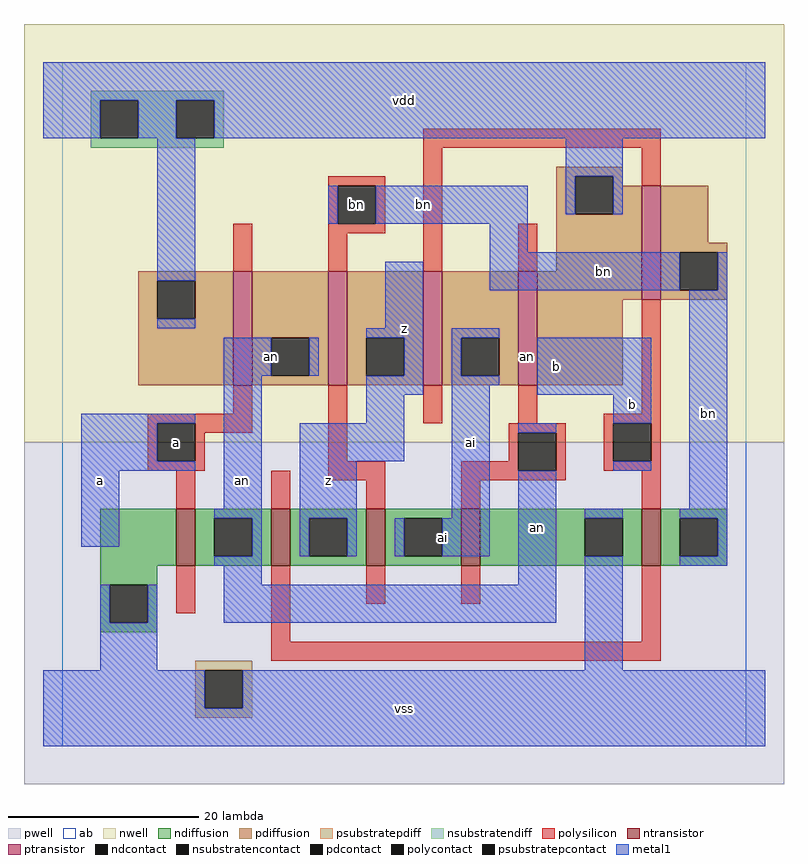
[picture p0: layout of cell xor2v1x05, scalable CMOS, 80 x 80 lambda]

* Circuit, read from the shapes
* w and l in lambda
.subckt xor2v1x05 a ai an b bn vdd vss z
M1 an a vss vss nfet w=6 l=2
M2 z b an vss nfet w=6 l=2
M3 ai bn z vss nfet w=6 l=2
M4 vss an ai vss nfet w=6 l=2
M5 bn b vss vss nfet w=6 l=2
M6 an a vdd vdd pfet w=12 l=2
M7 z bn an vdd pfet w=12 l=2
M8 ai b z vdd pfet w=12 l=2
M9 vdd an ai vdd pfet w=12 l=2
M10 bn b vdd vdd pfet w=12 l=2
.ends

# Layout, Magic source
magic
tech scmos
<< ab >>
rect 0 0 72 72
<< pwell >>
rect -4 -4 76 32
<< nwell >>
rect -4 32 76 76
<< polysilicon >>
rect 38 63 63 65
rect 28 59 34 60
rect 28 55 29 59
rect 33 55 34 59
rect 18 50 20 55
rect 28 54 34 55
rect 28 50 30 54
rect 38 50 40 63
rect 61 59 63 63
rect 48 50 50 55
rect 18 35 20 38
rect 9 34 20 35
rect 9 30 10 34
rect 14 33 20 34
rect 14 30 15 33
rect 9 29 15 30
rect 28 30 30 38
rect 38 34 40 38
rect 48 34 50 38
rect 61 35 63 47
rect 57 34 63 35
rect 47 33 53 34
rect 47 30 48 33
rect 12 25 14 29
rect 22 25 24 29
rect 28 28 34 30
rect 32 25 34 28
rect 42 29 48 30
rect 52 29 53 33
rect 57 30 58 34
rect 62 30 63 34
rect 57 29 63 30
rect 42 28 53 29
rect 42 25 44 28
rect 61 25 63 29
rect 12 14 14 19
rect 22 11 24 19
rect 32 15 34 19
rect 42 15 44 19
rect 61 11 63 19
rect 22 9 63 11
<< ndiffusion >>
rect 4 19 12 25
rect 14 24 22 25
rect 14 20 16 24
rect 20 20 22 24
rect 14 19 22 20
rect 24 24 32 25
rect 24 20 26 24
rect 30 20 32 24
rect 24 19 32 20
rect 34 24 42 25
rect 34 20 36 24
rect 40 20 42 24
rect 34 19 42 20
rect 44 24 61 25
rect 44 20 55 24
rect 59 20 61 24
rect 44 19 61 20
rect 63 24 70 25
rect 63 20 65 24
rect 69 20 70 24
rect 63 19 70 20
rect 4 17 10 19
rect 4 13 5 17
rect 9 13 10 17
rect 4 12 10 13
<< pdiffusion >>
rect 52 60 59 61
rect 52 56 54 60
rect 58 59 59 60
rect 58 56 61 59
rect 52 50 61 56
rect 8 49 18 50
rect 8 45 10 49
rect 14 45 18 49
rect 8 38 18 45
rect 20 43 28 50
rect 20 39 22 43
rect 26 39 28 43
rect 20 38 28 39
rect 30 43 38 50
rect 30 39 32 43
rect 36 39 38 43
rect 30 38 38 39
rect 40 43 48 50
rect 40 39 42 43
rect 46 39 48 43
rect 40 38 48 39
rect 50 47 61 50
rect 63 53 68 59
rect 63 52 70 53
rect 63 48 65 52
rect 69 48 70 52
rect 63 47 70 48
rect 50 38 59 47
<< metal1 >>
rect -2 68 74 72
rect -2 64 4 68
rect 8 64 12 68
rect 16 64 74 68
rect 10 49 14 64
rect 53 60 59 64
rect 28 55 29 59
rect 33 55 49 59
rect 53 56 54 60
rect 58 56 59 60
rect 45 52 49 55
rect 10 44 14 45
rect 34 44 38 51
rect 45 48 65 52
rect 69 48 70 52
rect 32 43 38 44
rect 17 39 22 43
rect 26 39 27 43
rect 36 39 38 43
rect 2 34 14 35
rect 2 30 10 34
rect 2 29 14 30
rect 2 21 6 29
rect 17 25 21 39
rect 32 37 38 39
rect 41 43 46 44
rect 41 39 42 43
rect 41 38 46 39
rect 32 34 36 37
rect 16 24 21 25
rect 20 20 21 24
rect 25 30 36 34
rect 25 24 31 30
rect 41 24 45 38
rect 50 37 62 43
rect 58 34 62 37
rect 25 20 26 24
rect 30 20 31 24
rect 35 20 36 24
rect 40 20 45 24
rect 48 33 52 34
rect 58 29 62 30
rect 16 19 21 20
rect 17 17 21 19
rect 48 17 52 29
rect 66 25 70 48
rect 4 13 5 17
rect 9 13 10 17
rect 17 13 52 17
rect 55 24 59 25
rect 4 8 10 13
rect 55 8 59 20
rect 65 24 70 25
rect 69 20 70 24
rect 65 19 70 20
rect -2 4 15 8
rect 19 4 74 8
rect -2 0 74 4
<< ntransistor >>
rect 12 19 14 25
rect 22 19 24 25
rect 32 19 34 25
rect 42 19 44 25
rect 61 19 63 25
<< ptransistor >>
rect 18 38 20 50
rect 28 38 30 50
rect 38 38 40 50
rect 48 38 50 50
rect 61 47 63 59
<< polycontact >>
rect 29 55 33 59
rect 10 30 14 34
rect 48 29 52 33
rect 58 30 62 34
<< ndcontact >>
rect 16 20 20 24
rect 26 20 30 24
rect 36 20 40 24
rect 55 20 59 24
rect 65 20 69 24
rect 5 13 9 17
<< pdcontact >>
rect 54 56 58 60
rect 10 45 14 49
rect 22 39 26 43
rect 32 39 36 43
rect 42 39 46 43
rect 65 48 69 52
<< psubstratepcontact >>
rect 15 4 19 8
<< nsubstratencontact >>
rect 4 64 8 68
rect 12 64 16 68
<< psubstratepdiff >>
rect 14 8 20 9
rect 14 4 15 8
rect 19 4 20 8
rect 14 3 20 4
<< nsubstratendiff >>
rect 3 68 17 69
rect 3 64 4 68
rect 8 64 12 68
rect 16 64 17 68
rect 3 63 17 64
<< labels >>
rlabel polycontact 31 57 31 57 6 bn
rlabel ptransistor 49 41 49 41 6 an
rlabel metal1 4 28 4 28 6 a
rlabel polycontact 12 32 12 32 6 a
rlabel metal1 28 28 28 28 6 z
rlabel metal1 19 28 19 28 6 an
rlabel metal1 22 41 22 41 6 an
rlabel metal1 36 4 36 4 6 vss
rlabel metal1 50 23 50 23 6 an
rlabel metal1 40 22 40 22 6 ai
rlabel metal1 52 40 52 40 6 b
rlabel metal1 43 32 43 32 6 ai
rlabel metal1 36 44 36 44 6 z
rlabel metal1 38 57 38 57 6 bn
rlabel metal1 36 68 36 68 6 vdd
rlabel metal1 60 36 60 36 6 b
rlabel metal1 68 35 68 35 6 bn
rlabel metal1 57 50 57 50 6 bn
<< end >>
